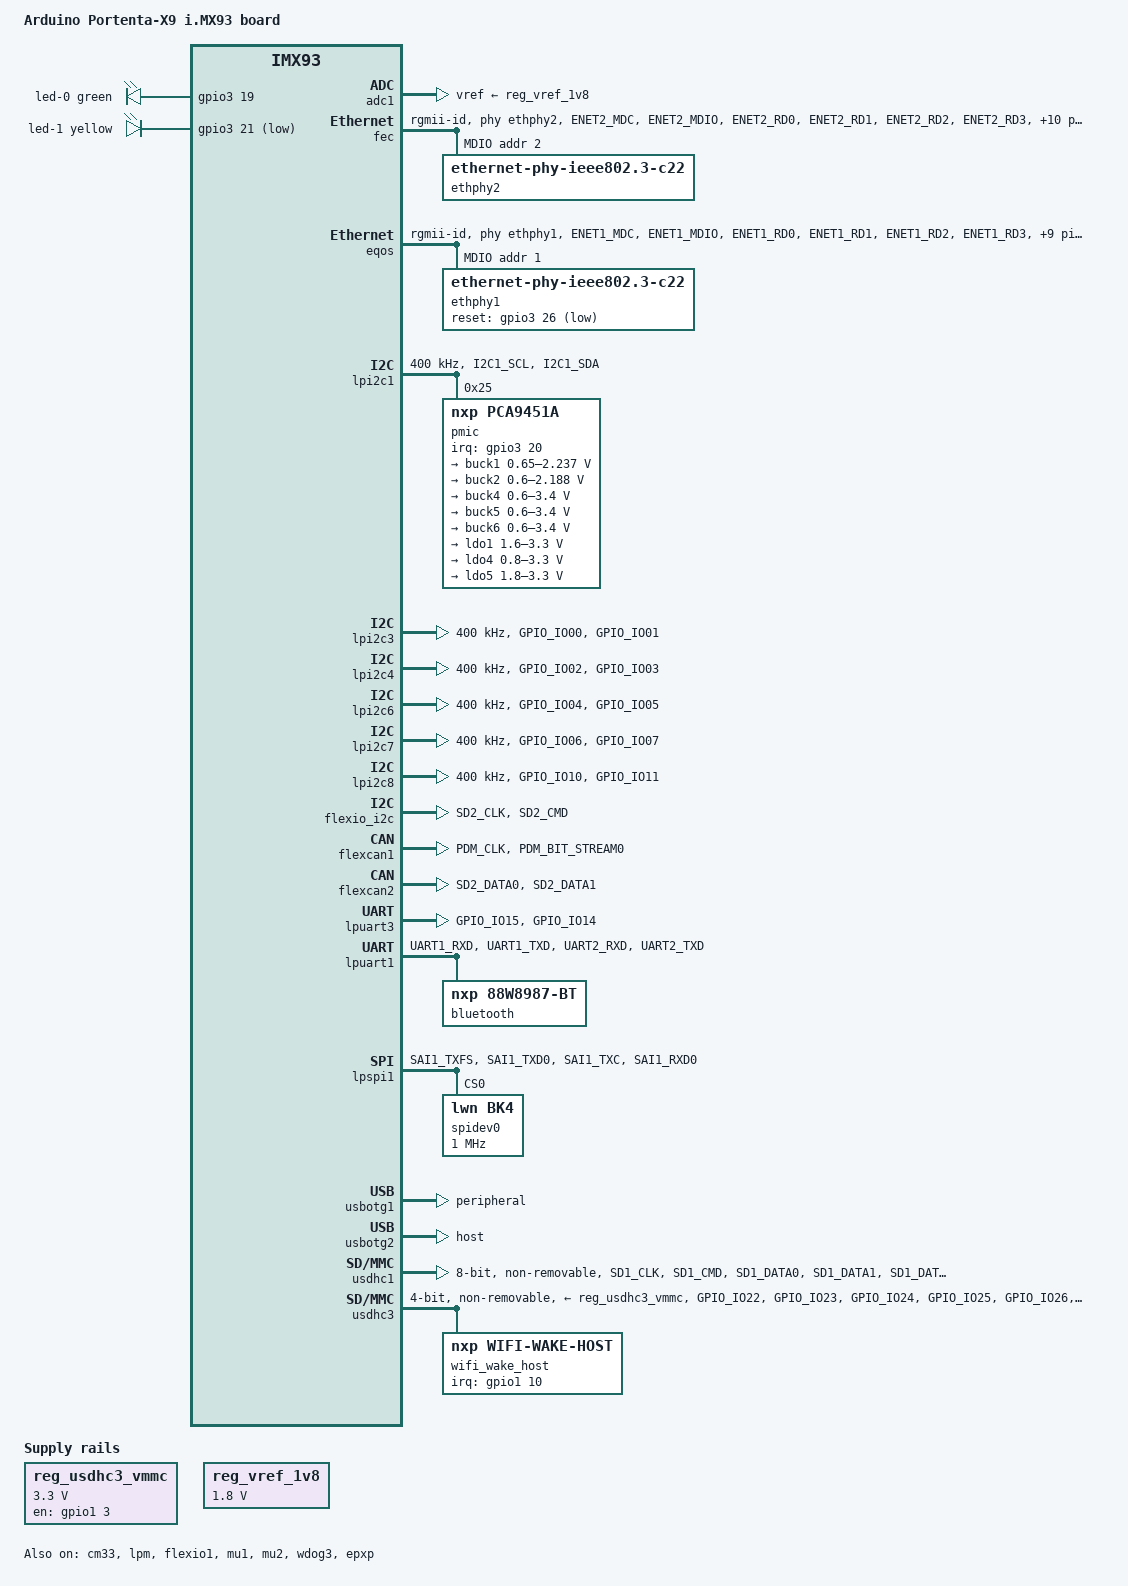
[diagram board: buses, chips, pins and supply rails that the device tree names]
// SPDX-License-Identifier: (GPL-2.0+ OR MIT)
/*
 * Copyright 2022 NXP
 *
 * Copyright 2024 Arduino SA
 */

/dts-v1/;

#include <dt-bindings/usb/pd.h>
#include <dt-bindings/leds/common.h>
#include <dt-bindings/thermal/thermal.h>
#include "imx93.dtsi"

&ele_fw2 {
	memory-region = <&ele_reserved>;
};

/ {
	model = "Arduino Portenta-X9 i.MX93 board";
	compatible = "fsl,imx93-11x11-evk", "fsl,imx93";

	chosen {
		stdout-path = &lpuart3;
	};

	reserved-memory {
		#address-cells = <2>;
		#size-cells = <2>;
		ranges;

		linux,cma {
			compatible = "shared-dma-pool";
			reusable;
			alloc-ranges = <0 0x80000000 0 0x40000000>;
			size = <0 0x10000000>;
			linux,cma-default;
		};

		ethosu_mem: ethosu_region@C0000000 {
			compatible = "shared-dma-pool";
			reusable;
			reg = <0x0 0xC0000000 0x0 0x10000000>;
		};

		vdev0vring0: vdev0vring0@a4000000 {
			reg = <0 0xa4000000 0 0x8000>;
			no-map;
		};

		vdev0vring1: vdev0vring1@a4008000 {
			reg = <0 0xa4008000 0 0x8000>;
			no-map;
		};

		vdev1vring0: vdev1vring0@a4010000 {
			reg = <0 0xa4010000 0 0x8000>;
			no-map;
		};

		vdev1vring1: vdev1vring1@a4018000 {
			reg = <0 0xa4018000 0 0x8000>;
			no-map;
		};

		rsc_table: rsc-table@2021e000 {
			reg = <0 0x2021e000 0 0x1000>;
			no-map;
		};

		vdevbuffer: vdevbuffer@a4020000 {
			compatible = "shared-dma-pool";
			reg = <0 0xa4020000 0 0x100000>;
			no-map;
		};

		ele_reserved: ele-reserved@a4120000 {
			compatible = "shared-dma-pool";
			reg = <0 0xa4120000 0 0x100000>;
			no-map;
		};
	};

	ethosu {
		compatible = "arm,ethosu";
		fsl,cm33-proc = <&cm33>;
		memory-region = <&ethosu_mem>;
		power-domains = <&mlmix>;
	};

	reg_usdhc3_vmmc: regulator-usdhc3 {
		compatible = "regulator-fixed";
		regulator-name = "WLAN_EN";
		regulator-min-microvolt = <3300000>;
		regulator-max-microvolt = <3300000>;
		gpio = <&gpio1 3 GPIO_ACTIVE_HIGH>;
		/*
		 * IW612 wifi chip needs more delay than other wifi chips to complete
		 * the host interface initialization after power up, otherwise the
		 * internal state of IW612 may be unstable, resulting in the failure of
		 * the SDIO3.0 switch voltage.
		 */
		startup-delay-us = <20000>;
		enable-active-high;
	};

	reg_vref_1v8: regulator-adc-vref {
		compatible = "regulator-fixed";
		regulator-name = "vref_1v8";
		regulator-min-microvolt = <1800000>;
		regulator-max-microvolt = <1800000>;
	};

	leds {
		compatible = "gpio-leds";
		pinctrl-names = "default";
		pinctrl-0 = <&pinctrl_leds>;

		led-0 {
			color = <LED_COLOR_ID_GREEN>;
			function = LED_FUNCTION_HEARTBEAT;
			gpios = <&gpio3 19 GPIO_ACTIVE_HIGH>;
			linux,default-trigger = "heartbeat";
		};

		led-1 {
			color = <LED_COLOR_ID_YELLOW>;
			function = LED_FUNCTION_BOOT;
			gpios = <&gpio3 21 GPIO_ACTIVE_LOW>;
			linux,default-trigger = "boot";
		};
	};
};

/* Note: Industrial -40 to +105°C */
&cpu-crit {
	temperature = <100000>;
	hysteresis = <2000>;
	type = "critical";
};

&adc1 {
	vref-supply = <&reg_vref_1v8>;
	status = "okay";
};

&cm33 {
	mbox-names = "tx", "rx", "rxdb";
	mboxes = <&mu1 0 1>,
		 <&mu1 1 1>,
		 <&mu1 3 1>;
	memory-region = <&vdevbuffer>, <&vdev0vring0>, <&vdev0vring1>,
			<&vdev1vring0>, <&vdev1vring1>, <&rsc_table>;
	fsl,startup-delay-ms = <500>;
	status = "okay";
};

/* Hooked to ENET1 */
/* U7B ETH2 */
&fec {
	pinctrl-names = "default";
	pinctrl-0 = <&pinctrl_fec>;
	pinctrl-1 = <&pinctrl_fec_sleep>;
	phy-mode = "rgmii-id";
	phy-handle = <&ethphy2>;
	fsl,magic-packet;
	status = "okay";
	phy-reset-gpios = <&gpio3 27 GPIO_ACTIVE_LOW>;
	phy-reset-duration = <10>; /* [ms] */
	phy-reset-post-delay = <80>; /* [ms] */

	mdio {
		#address-cells = <1>;
		#size-cells = <0>;
		clock-frequency = <5000000>;

		ethphy2: ethernet-phy@2 {
			compatible = "ethernet-phy-ieee802.3-c22";
			reg = <2>;
			eee-broken-1000t;
			realtek,clkout-disable;
		};
	};
};

/* Hooked to ENET QOS */
/* U7A ETH1 */
&eqos {
	pinctrl-names = "default";
	pinctrl-0 = <&pinctrl_eqos>;
	phy-mode = "rgmii-id";
	phy-handle = <&ethphy1>;
	status = "okay";

	mdio {
		compatible = "snps,dwmac-mdio";
		#address-cells = <1>;
		#size-cells = <0>;
		clock-frequency = <5000000>;

		ethphy1: ethernet-phy@1 {
			compatible = "ethernet-phy-ieee802.3-c22";
			reg = <1>;
			reset-gpios = <&gpio3 26 GPIO_ACTIVE_LOW>;
			reset-assert-us = <10000>;
			reset-deassert-us = <80000>;
			realtek,clkout-disable;
		};
	};
};

&lpm {
	soc-supply = <&buck1>;
	status = "okay";
};

&lpi2c1 {
	#address-cells = <1>;
	#size-cells = <0>;
	clock-frequency = <400000>;
	pinctrl-names = "default", "sleep";
	pinctrl-0 = <&pinctrl_lpi2c1>;
	pinctrl-1 = <&pinctrl_lpi2c1>;
	status = "okay";

	/* @TODO: add crypt @48 */

	pmic@25 {
		compatible = "nxp,pca9451a";
		reg = <0x25>;
		pinctrl-0 = <&pinctrl_pca9451a>;
		interrupt-parent = <&gpio3>;
		interrupts = <20 IRQ_TYPE_LEVEL_LOW>;

		regulators {
			buck1: BUCK1 {
				regulator-name = "BUCK1";
				regulator-min-microvolt = <650000>;
				regulator-max-microvolt = <2237500>;
				regulator-boot-on;
				regulator-always-on;
				regulator-ramp-delay = <3125>;
			};

			buck2: BUCK2 {
				regulator-name = "BUCK2";
				regulator-min-microvolt = <600000>;
				regulator-max-microvolt = <2187500>;
				regulator-boot-on;
				regulator-always-on;
				regulator-ramp-delay = <3125>;
			};

			buck4: BUCK4{
				regulator-name = "BUCK4";
				regulator-min-microvolt = <600000>;
				regulator-max-microvolt = <3400000>;
				regulator-boot-on;
				regulator-always-on;
			};

			buck5: BUCK5{
				regulator-name = "BUCK5";
				regulator-min-microvolt = <600000>;
				regulator-max-microvolt = <3400000>;
				regulator-boot-on;
				regulator-always-on;
			};

			buck6: BUCK6 {
				regulator-name = "BUCK6";
				regulator-min-microvolt = <600000>;
				regulator-max-microvolt = <3400000>;
				regulator-boot-on;
				regulator-always-on;
			};

			ldo1: LDO1 {
				regulator-name = "LDO1";
				regulator-min-microvolt = <1600000>;
				regulator-max-microvolt = <3300000>;
				regulator-boot-on;
				regulator-always-on;
			};

			ldo4: LDO4 {
				regulator-name = "LDO4";
				regulator-min-microvolt = <800000>;
				regulator-max-microvolt = <3300000>;
				regulator-boot-on;
				regulator-always-on;
			};

			ldo5: LDO5 {
				regulator-name = "LDO5";
				regulator-min-microvolt = <1800000>;
				regulator-max-microvolt = <3300000>;
				regulator-boot-on;
				regulator-always-on;
			};
		};
	};
};

&lpi2c3 {
	#address-cells = <1>;
	#size-cells = <0>;
	clock-frequency = <400000>;
	pinctrl-names = "default", "sleep";
	pinctrl-0 = <&pinctrl_lpi2c3>;
	pinctrl-1 = <&pinctrl_lpi2c3>;
	status = "okay";
};

&lpi2c4 {
	#address-cells = <1>;
	#size-cells = <0>;
	clock-frequency = <400000>;
	pinctrl-names = "default", "sleep";
	pinctrl-0 = <&pinctrl_lpi2c4>;
	pinctrl-1 = <&pinctrl_lpi2c4>;
	status = "okay";
};

&lpi2c6 {
	#address-cells = <1>;
	#size-cells = <0>;
	clock-frequency = <400000>;
	pinctrl-names = "default", "sleep";
	pinctrl-0 = <&pinctrl_lpi2c6>;
	pinctrl-1 = <&pinctrl_lpi2c6>;
};

&lpi2c7 {
	#address-cells = <1>;
	#size-cells = <0>;
	clock-frequency = <400000>;
	pinctrl-names = "default", "sleep";
	pinctrl-0 = <&pinctrl_lpi2c7>;
	pinctrl-1 = <&pinctrl_lpi2c7>;
};

&lpi2c8 {
	#address-cells = <1>;
	#size-cells = <0>;
	clock-frequency = <400000>;
	pinctrl-names = "default", "sleep";
	pinctrl-0 = <&pinctrl_lpi2c8>;
	pinctrl-1 = <&pinctrl_lpi2c8>;
};

&flexio1 {
	status = "okay";
};

&flexio_i2c {
	#address-cells = <1>;
	#size-cells = <0>;
	pinctrl-names = "default";
	pinctrl-0 = <&pinctrl_flexio_i2c>;
	sda = /bits/ 8 <0x1>;
	scl = /bits/ 8 <0x2>;
};

&flexcan1 {
	pinctrl-names = "default";
	pinctrl-0 = <&pinctrl_flexcan1>;
	status = "okay";
};

&flexcan2 {
	pinctrl-names = "default";
	pinctrl-0 = <&pinctrl_flexcan2>;
	status = "okay";
};

&lpuart3 { /* console */
	pinctrl-names = "default";
	pinctrl-0 = <&pinctrl_uart3>;
	clocks = <&clk IMX93_CLK_LPUART3_GATE>, <&clk IMX93_CLK_LPUART3_GATE>;
	clock-names = "ipg", "per";
	uart-has-rtscts = <0>; /* Disable RTS/CTS */
	status = "okay";
};

&lpuart1 { /* Bluetooth IW612 */
	pinctrl-names = "default";
	pinctrl-0 = <&pinctrl_uart1>;
	/* @TODO: missing pinctrl-assert-gpios (IND_RST_BT) */
	status = "okay";

	/* @TODO: btnxpuart is modprobed by hand */
	bluetooth {
		compatible = "nxp,88w8987-bt";
	};
};

/* IW612 SPI 802.15.4 */
&lpspi1 {
	fsl,spi-num-chipselects = <1>;
	pinctrl-names = "default";
	pinctrl-0 = <&pinctrl_lpspi1>;
	status = "okay";

	spidev0: spi@0 {
		reg = <0>;
		compatible = "lwn,bk4";
		spi-max-frequency = <1000000>;
	};
};

&mu1 {
	status = "okay";
};

&mu2 {
	status = "okay";
};

/* USB1 Device Port */
&usbotg1 {
	dr_mode = "peripheral";
	hnp-disable;
	srp-disable;
	adp-disable;
	disable-over-current;
	samsung,picophy-pre-emp-curr-control = <3>;
	samsung,picophy-dc-vol-level-adjust = <7>;
	status = "okay";
};

/* USB2 HOST Port */
&usbotg2 {
	dr_mode = "host";
	hnp-disable;
	srp-disable;
	adp-disable;
	disable-over-current;
	samsung,picophy-pre-emp-curr-control = <3>;
	samsung,picophy-dc-vol-level-adjust = <7>;
	status = "okay";
};

&usdhc1 { /* eMMC */
	pinctrl-names = "default", "state_100mhz", "state_200mhz";
	pinctrl-0 = <&pinctrl_usdhc1>;
	pinctrl-1 = <&pinctrl_usdhc1_100mhz>;
	pinctrl-2 = <&pinctrl_usdhc1_200mhz>;
	bus-width = <8>;
	non-removable;
	status = "okay";
};

&usdhc3 { /* WiFi IW612 */
	pinctrl-names = "default", "state_100mhz", "state_200mhz";
	pinctrl-0 = <&pinctrl_usdhc3>, <&pinctrl_wlan>;
	pinctrl-1 = <&pinctrl_usdhc3_100mhz>, <&pinctrl_wlan>;
	pinctrl-2 = <&pinctrl_usdhc3_200mhz>, <&pinctrl_wlan>;
	vmmc-supply = <&reg_usdhc3_vmmc>;
	/* @TODO: missing pinctrl-assert-gpios */
	bus-width = <4>;
	keep-power-in-suspend;
	non-removable;
	wakeup-source;
	fsl,sdio-async-interrupt-enabled;
	status = "okay";

	wifi_wake_host {
		compatible = "nxp,wifi-wake-host";
		interrupt-parent = <&gpio1>;
		interrupts = <10 IRQ_TYPE_EDGE_FALLING>;
		interrupt-names = "host-wake";
	};
};

&wdog3 {
	status = "okay";
};

&epxp {
	status = "okay";
};

&lcdif {
	status = "disabled";
};

&dsi {
	status = "disabled";
};

&iomuxc {
	/* ETH1 */
	pinctrl_eqos: eqosgrp {
		fsl,pins = <
			MX93_PAD_ENET1_MDC__ENET_QOS_MDC			0x57e
			MX93_PAD_ENET1_MDIO__ENET_QOS_MDIO			0x57e
			MX93_PAD_ENET1_RD0__ENET_QOS_RGMII_RD0			0x57e
			MX93_PAD_ENET1_RD1__ENET_QOS_RGMII_RD1			0x57e
			MX93_PAD_ENET1_RD2__ENET_QOS_RGMII_RD2			0x57e
			MX93_PAD_ENET1_RD3__ENET_QOS_RGMII_RD3			0x57e
			MX93_PAD_ENET1_RXC__CCM_ENET_QOS_CLOCK_GENERATE_RX_CLK	0x58e
			MX93_PAD_ENET1_RX_CTL__ENET_QOS_RGMII_RX_CTL		0x57e
			MX93_PAD_ENET1_TD0__ENET_QOS_RGMII_TD0			0x57e
			MX93_PAD_ENET1_TD1__ENET_QOS_RGMII_TD1			0x57e
			MX93_PAD_ENET1_TD2__ENET_QOS_RGMII_TD2			0x57e
			MX93_PAD_ENET1_TD3__ENET_QOS_RGMII_TD3			0x57e
			MX93_PAD_ENET1_TXC__CCM_ENET_QOS_CLOCK_GENERATE_TX_CLK	0x58e
			MX93_PAD_ENET1_TX_CTL__ENET_QOS_RGMII_TX_CTL		0x57e
			MX93_PAD_CCM_CLKO1__GPIO3_IO26			0x91e /* Open Drain Enabled, PU Disabled, X4 Strenght */
		>;
	};

	/* ETH2 */
	pinctrl_fec: fecgrp {
		fsl,pins = <
			MX93_PAD_ENET2_MDC__ENET1_MDC			0x57e
			MX93_PAD_ENET2_MDIO__ENET1_MDIO			0x57e
			MX93_PAD_ENET2_RD0__ENET1_RGMII_RD0			0x57e
			MX93_PAD_ENET2_RD1__ENET1_RGMII_RD1			0x57e
			MX93_PAD_ENET2_RD2__ENET1_RGMII_RD2			0x57e
			MX93_PAD_ENET2_RD3__ENET1_RGMII_RD3			0x57e
			MX93_PAD_ENET2_RXC__ENET1_RGMII_RXC		0x58e
			MX93_PAD_ENET2_RX_CTL__ENET1_RGMII_RX_CTL	0x57e
			MX93_PAD_ENET2_TD0__ENET1_RGMII_TD0			0x57e
			MX93_PAD_ENET2_TD1__ENET1_RGMII_TD1			0x57e
			MX93_PAD_ENET2_TD2__ENET1_RGMII_TD2			0x57e
			MX93_PAD_ENET2_TD3__ENET1_RGMII_TD3			0x57e
			MX93_PAD_ENET2_TXC__ENET1_RGMII_TXC			0x58e
			MX93_PAD_ENET2_TX_CTL__ENET1_RGMII_TX_CTL	0x57e
			MX93_PAD_CCM_CLKO2__GPIO3_IO27				0x91e /* Open Drain Enabled, PU Disabled, X4 Strenght */
		>;
	};

	/* ETH2 */
	pinctrl_fec_sleep: fecsleepgrp {
		fsl,pins = <
			MX93_PAD_ENET2_MDC__GPIO4_IO14			0x51e
			MX93_PAD_ENET2_MDIO__GPIO4_IO15			0x51e
			MX93_PAD_ENET2_RD0__GPIO4_IO24			0x51e
			MX93_PAD_ENET2_RD1__GPIO4_IO25			0x51e
			MX93_PAD_ENET2_RD2__GPIO4_IO26			0x51e
			MX93_PAD_ENET2_RD3__GPIO4_IO27			0x51e
			MX93_PAD_ENET2_RXC__GPIO4_IO23			0x51e
			MX93_PAD_ENET2_RX_CTL__GPIO4_IO22		0x51e
			MX93_PAD_ENET2_TD0__GPIO4_IO19			0x51e
			MX93_PAD_ENET2_TD1__GPIO4_IO18			0x51e
			MX93_PAD_ENET2_TD2__GPIO4_IO17			0x51e
			MX93_PAD_ENET2_TD3__GPIO4_IO16			0x51e
			MX93_PAD_ENET2_TXC__GPIO4_IO21			0x51e
			MX93_PAD_ENET2_TX_CTL__GPIO4_IO20		0x51e
			MX93_PAD_CCM_CLKO2__GPIO3_IO27			0x91e /* Open Drain Enabled, PU Disabled, X4 Strenght */
		>;
	};

	pinctrl_lpi2c1: lpi2c1grp {
		fsl,pins = <
			MX93_PAD_I2C1_SCL__LPI2C1_SCL			0x40000b9e
			MX93_PAD_I2C1_SDA__LPI2C1_SDA			0x40000b9e
		>;
	};

	/* HIGH DENSITY: GPIO0 - GPIO1 (AKA ID_SCL - ID_SDA) */
	pinctrl_lpi2c3: lpi2c3grp {
		fsl,pins = <
			MX93_PAD_GPIO_IO00__LPI2C3_SDA			0x40000b9e
			MX93_PAD_GPIO_IO01__LPI2C3_SCL			0x40000b9e
		>;
	};

	/* HIGH DENSITY: GPIO2 - GPIO3 */
	pinctrl_lpi2c4: lpi2c4grp {
		fsl,pins = <
			MX93_PAD_GPIO_IO02__LPI2C4_SDA			0x40000b9e
			MX93_PAD_GPIO_IO03__LPI2C4_SCL			0x40000b9e
		>;
	};

	/* HIGH DENSITY: GPIO4 - GPIO5 */
	pinctrl_lpi2c6: lpi2c6grp {
		fsl,pins = <
			MX93_PAD_GPIO_IO04__LPI2C6_SDA			0x40000b9e
			MX93_PAD_GPIO_IO05__LPI2C6_SCL			0x40000b9e
		>;
	};

	/* HIGH DENSITY: GPIO6 - GPIO7 */
	pinctrl_lpi2c7: lpi2c7grp {
		fsl,pins = <
			MX93_PAD_GPIO_IO06__LPI2C7_SDA			0x40000b9e
			MX93_PAD_GPIO_IO07__LPI2C7_SCL			0x40000b9e
		>;
	};

	/* HIGH DENSITY: GPIO10 - GPIO11 */
	pinctrl_lpi2c8: lpi2c8grp {
		fsl,pins = <
			MX93_PAD_GPIO_IO10__LPI2C8_SDA			0x40000b9e
			MX93_PAD_GPIO_IO11__LPI2C8_SCL			0x40000b9e
		>;
	};

	/* HIGH DENSITY: GPIO22 - GPIO23 (I2C as FLEXIO) */
	pinctrl_flexio_i2c: lpi2cfloxiogrp {
		fsl,pins = <
			MX93_PAD_SD2_CLK__FLEXIO1_FLEXIO01			0x40000b9e
			MX93_PAD_SD2_CMD__FLEXIO1_FLEXIO02			0x40000b9e
		>;
	};

	pinctrl_pca9451a: pca9451agrp {
		fsl,pins = <
			MX93_PAD_SD3_CLK__GPIO3_IO20			0x1380
		>;
	};

	pinctrl_uart1: uart1grp {
		fsl,pins = <
			MX93_PAD_UART1_RXD__LPUART1_RX			0x31e
			MX93_PAD_UART1_TXD__LPUART1_TX			0x31e
			MX93_PAD_UART2_RXD__LPUART1_CTS_B		0x31e
			MX93_PAD_UART2_TXD__LPUART1_RTS_B		0x31e
		>;
	};

	pinctrl_uart3: uart3grp {
		fsl,pins = <
			MX93_PAD_GPIO_IO15__LPUART3_RX		0x31e
			MX93_PAD_GPIO_IO14__LPUART3_TX		0x31e
		>;
	};

	/* need to config the SION for data and cmd pad, refer to ERR052021 */
	pinctrl_usdhc1: usdhc1grp {
		fsl,pins = <
			MX93_PAD_SD1_CLK__USDHC1_CLK		0x1582
			MX93_PAD_SD1_CMD__USDHC1_CMD		0x40001382
			MX93_PAD_SD1_DATA0__USDHC1_DATA0	0x40001382
			MX93_PAD_SD1_DATA1__USDHC1_DATA1	0x40001382
			MX93_PAD_SD1_DATA2__USDHC1_DATA2	0x40001382
			MX93_PAD_SD1_DATA3__USDHC1_DATA3	0x40001382
			MX93_PAD_SD1_DATA4__USDHC1_DATA4	0x40001382
			MX93_PAD_SD1_DATA5__USDHC1_DATA5	0x40001382
			MX93_PAD_SD1_DATA6__USDHC1_DATA6	0x40001382
			MX93_PAD_SD1_DATA7__USDHC1_DATA7	0x40001382
			MX93_PAD_SD1_STROBE__USDHC1_STROBE	0x1582
		>;
	};

	/* need to config the SION for data and cmd pad, refer to ERR052021 */
	pinctrl_usdhc1_100mhz: usdhc1-100mhzgrp {
		fsl,pins = <
			MX93_PAD_SD1_CLK__USDHC1_CLK		0x158e
			MX93_PAD_SD1_CMD__USDHC1_CMD		0x4000138e
			MX93_PAD_SD1_DATA0__USDHC1_DATA0	0x4000138e
			MX93_PAD_SD1_DATA1__USDHC1_DATA1	0x4000138e
			MX93_PAD_SD1_DATA2__USDHC1_DATA2	0x4000138e
			MX93_PAD_SD1_DATA3__USDHC1_DATA3	0x4000138e
			MX93_PAD_SD1_DATA4__USDHC1_DATA4	0x4000138e
			MX93_PAD_SD1_DATA5__USDHC1_DATA5	0x4000138e
			MX93_PAD_SD1_DATA6__USDHC1_DATA6	0x4000138e
			MX93_PAD_SD1_DATA7__USDHC1_DATA7	0x4000138e
			MX93_PAD_SD1_STROBE__USDHC1_STROBE	0x158e
		>;
	};

	/* need to config the SION for data and cmd pad, refer to ERR052021 */
	pinctrl_usdhc1_200mhz: usdhc1-200mhzgrp {
		fsl,pins = <
			MX93_PAD_SD1_CLK__USDHC1_CLK		0x15fe
			MX93_PAD_SD1_CMD__USDHC1_CMD		0x400013fe
			MX93_PAD_SD1_DATA0__USDHC1_DATA0	0x400013fe
			MX93_PAD_SD1_DATA1__USDHC1_DATA1	0x400013fe
			MX93_PAD_SD1_DATA2__USDHC1_DATA2	0x400013fe
			MX93_PAD_SD1_DATA3__USDHC1_DATA3	0x400013fe
			MX93_PAD_SD1_DATA4__USDHC1_DATA4	0x400013fe
			MX93_PAD_SD1_DATA5__USDHC1_DATA5	0x400013fe
			MX93_PAD_SD1_DATA6__USDHC1_DATA6	0x400013fe
			MX93_PAD_SD1_DATA7__USDHC1_DATA7	0x400013fe
			MX93_PAD_SD1_STROBE__USDHC1_STROBE	0x15fe
		>;
	};

	/* need to config the SION for data and cmd pad, refer to ERR052021 */
	pinctrl_usdhc3: usdhc3grp {
		fsl,pins = <
			MX93_PAD_GPIO_IO22__USDHC3_CLK		0x1582
			MX93_PAD_GPIO_IO23__USDHC3_CMD		0x40001382
			MX93_PAD_GPIO_IO24__USDHC3_DATA0	0x40001382
			MX93_PAD_GPIO_IO25__USDHC3_DATA1	0x40001382
			MX93_PAD_GPIO_IO26__USDHC3_DATA2	0x40001382
			MX93_PAD_GPIO_IO27__USDHC3_DATA3	0x40001382
		>;
	};

	/* need to config the SION for data and cmd pad, refer to ERR052021 */
	pinctrl_usdhc3_100mhz: usdhc3-100mhzgrp {
		fsl,pins = <
			MX93_PAD_GPIO_IO22__USDHC3_CLK		0x158e
			MX93_PAD_GPIO_IO23__USDHC3_CMD		0x4000138e
			MX93_PAD_GPIO_IO24__USDHC3_DATA0	0x4000138e
			MX93_PAD_GPIO_IO25__USDHC3_DATA1	0x4000138e
			MX93_PAD_GPIO_IO26__USDHC3_DATA2	0x4000138e
			MX93_PAD_GPIO_IO27__USDHC3_DATA3	0x4000138e
		>;
	};

	/* need to config the SION for data and cmd pad, refer to ERR052021 */
	pinctrl_usdhc3_200mhz: usdhc3-200mhzgrp {
		fsl,pins = <
			MX93_PAD_GPIO_IO22__USDHC3_CLK		0x15fe
			MX93_PAD_GPIO_IO23__USDHC3_CMD		0x400013fe
			MX93_PAD_GPIO_IO24__USDHC3_DATA0	0x400013fe
			MX93_PAD_GPIO_IO25__USDHC3_DATA1	0x400013fe
			MX93_PAD_GPIO_IO26__USDHC3_DATA2	0x400013fe
			MX93_PAD_GPIO_IO27__USDHC3_DATA3	0x400013fe
		>;
	};

	pinctrl_wlan: wlanctrlgrp {
		fsl,pins = <
			MX93_PAD_PDM_BIT_STREAM1__GPIO1_IO10	0x31e
			MX93_PAD_I2C2_SCL__GPIO1_IO02			0x31e
			MX93_PAD_I2C2_SDA__GPIO1_IO03			0x31e
		>;
	};

	pinctrl_flexcan1: flexcan1grp {
		fsl,pins = <
			MX93_PAD_PDM_CLK__CAN1_TX			0x139e
			MX93_PAD_PDM_BIT_STREAM0__CAN1_RX	0x139e
		>;
	};

	pinctrl_flexcan2: flexcan2grp {
		fsl,pins = <
			MX93_PAD_SD2_DATA0__CAN2_TX			0x139e
			MX93_PAD_SD2_DATA1__CAN2_RX			0x139e
		>;
	};

	pinctrl_leds: ledsgrp {
		fsl,pins = <
			MX93_PAD_SD2_VSELECT__GPIO3_IO19	0x31e
			MX93_PAD_SD3_CMD__GPIO3_IO21		0x31e
		>;
	};

	pinctrl_lpspi1: lpspi1grp {
		fsl,pins = <
			MX93_PAD_SAI1_TXFS__LPSPI1_PCS0		0x3fe
			MX93_PAD_SAI1_TXD0__LPSPI1_SCK		0x3fe
			MX93_PAD_SAI1_TXC__LPSPI1_SIN		0x3fe
			MX93_PAD_SAI1_RXD0__LPSPI1_SOUT		0x3fe
		>;
	};

	pinctrl_lpspi4: lpspi4grp {
		fsl,pins = <
			MX93_PAD_GPIO_IO16__LPSPI4_PCS2		0x3fe
			MX93_PAD_GPIO_IO17__LPSPI4_PCS1		0x3fe
			MX93_PAD_GPIO_IO18__LPSPI4_PCS0		0x3fe
			MX93_PAD_GPIO_IO19__LPSPI4_SIN		0x3fe
			MX93_PAD_GPIO_IO20__LPSPI4_SOUT		0x3fe
			MX93_PAD_GPIO_IO21__LPSPI4_SCK		0x3fe
		>;
	};
};
